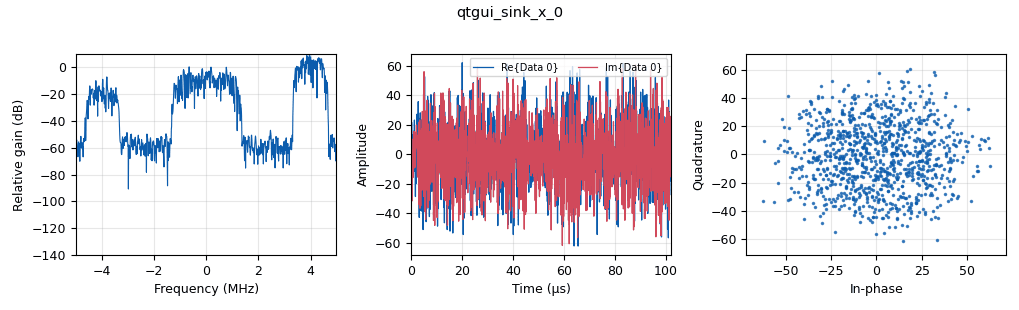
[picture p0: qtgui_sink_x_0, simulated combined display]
<?xml version='1.0' encoding='utf-8'?>
<?grc format='1' created='3.7.12'?>
<flow_graph>
<block>
<key>options</key>
<param><key>id</key><value>top_block</value></param>
<param><key>generate_options</key><value>qt_gui</value></param>
<param><key>run_options</key><value>run</value></param>
</block>
<block>
<key>variable</key>
<param><key>id</key><value>bps</value></param>
<param><key>value</key><value>4</value></param>
</block>
<block>
<key>variable</key>
<param><key>id</key><value>samp_rate</value></param>
<param><key>value</key><value>int(0.5E6)</value></param>
</block>
<block>
<key>variable</key>
<param><key>id</key><value>sps</value></param>
<param><key>value</key><value>10</value></param>
</block>
<block>
<key>variable</key>
<param><key>id</key><value>upsamp_rate</value></param>
<param><key>value</key><value>samp_rate * 8 * sps / bps</value></param>
</block>
<block>
<key>variable_constellation</key>
<param><key>id</key><value>variable_constellation_1</value></param>
<param><key>type</key><value>16qam</value></param>
<param><key>precision</key><value>8</value></param>
</block>
<block>
<key>variable_constellation</key>
<param><key>id</key><value>variable_constellation_2</value></param>
<param><key>type</key><value>16qam</value></param>
<param><key>precision</key><value>8</value></param>
</block>
<block>
<key>analog_random_source_x</key>
<param><key>id</key><value>analog_random_source_x_0</value></param>
<param><key>max</key><value>255</value></param>
<param><key>min</key><value>0</value></param>
<param><key>num_samps</key><value>10000000</value></param>
<param><key>type</key><value>byte</value></param>
<param><key>repeat</key><value>True</value></param>
</block>
<block>
<key>analog_random_source_x</key>
<param><key>id</key><value>analog_random_source_x_1</value></param>
<param><key>max</key><value>255</value></param>
<param><key>min</key><value>0</value></param>
<param><key>num_samps</key><value>10000000</value></param>
<param><key>type</key><value>byte</value></param>
<param><key>repeat</key><value>True</value></param>
</block>
<block>
<key>analog_random_source_x</key>
<param><key>id</key><value>analog_random_source_x_2</value></param>
<param><key>max</key><value>256</value></param>
<param><key>min</key><value>0</value></param>
<param><key>num_samps</key><value>10000000</value></param>
<param><key>type</key><value>byte</value></param>
<param><key>repeat</key><value>True</value></param>
</block>
<block>
<key>analog_sig_source_x</key>
<param><key>id</key><value>analog_sig_source_x_0</value></param>
<param><key>amp</key><value>30</value></param>
<param><key>freq</key><value>4e6</value></param>
<param><key>offset</key><value>0</value></param>
<param><key>type</key><value>complex</value></param>
<param><key>samp_rate</key><value>upsamp_rate</value></param>
<param><key>waveform</key><value>analog.GR_COS_WAVE</value></param>
</block>
<block>
<key>analog_sig_source_x</key>
<param><key>id</key><value>analog_sig_source_x_1</value></param>
<param><key>amp</key><value>10</value></param>
<param><key>freq</key><value>0</value></param>
<param><key>offset</key><value>0</value></param>
<param><key>type</key><value>complex</value></param>
<param><key>samp_rate</key><value>upsamp_rate</value></param>
<param><key>waveform</key><value>analog.GR_COS_WAVE</value></param>
</block>
<block>
<key>analog_sig_source_x</key>
<param><key>id</key><value>analog_sig_source_x_2_1</value></param>
<param><key>amp</key><value>1</value></param>
<param><key>freq</key><value>-4e6</value></param>
<param><key>offset</key><value>0</value></param>
<param><key>type</key><value>complex</value></param>
<param><key>samp_rate</key><value>upsamp_rate</value></param>
<param><key>waveform</key><value>analog.GR_COS_WAVE</value></param>
</block>
<block>
<key>blocks_add_xx</key>
<param><key>id</key><value>blocks_add_xx_0</value></param>
<param><key>type</key><value>complex</value></param>
<param><key>num_inputs</key><value>3</value></param>
</block>
<block>
<key>blocks_file_sink</key>
<param><key>id</key><value>blocks_file_sink_0_0</value></param>
<param><key>file</key><value>/home/wsrg/verilog/research-ayush/python/data3.dat</value></param>
<param><key>type</key><value>complex</value></param>
</block>
<block>
<key>blocks_head</key>
<param><key>id</key><value>blocks_head_0_0</value></param>
<param><key>num_items</key><value>100000000</value></param>
<param><key>type</key><value>complex</value></param>
</block>
<block>
<key>blocks_multiply_xx</key>
<param><key>id</key><value>blocks_multiply_xx_0</value></param>
<param><key>type</key><value>complex</value></param>
</block>
<block>
<key>blocks_multiply_xx</key>
<param><key>id</key><value>blocks_multiply_xx_1</value></param>
<param><key>type</key><value>complex</value></param>
</block>
<block>
<key>blocks_multiply_xx</key>
<param><key>id</key><value>blocks_multiply_xx_2_1</value></param>
<param><key>type</key><value>complex</value></param>
</block>
<block>
<key>blocks_skiphead</key>
<param><key>id</key><value>blocks_skiphead_0_0</value></param>
<param><key>num_items</key><value>1024</value></param>
<param><key>type</key><value>complex</value></param>
</block>
<block>
<key>blocks_throttle</key>
<param><key>id</key><value>blocks_throttle_0</value></param>
<param><key>samples_per_second</key><value>samp_rate</value></param>
<param><key>type</key><value>byte</value></param>
</block>
<block>
<key>blocks_throttle</key>
<param><key>id</key><value>blocks_throttle_1</value></param>
<param><key>samples_per_second</key><value>samp_rate*2</value></param>
<param><key>type</key><value>byte</value></param>
</block>
<block>
<key>blocks_throttle</key>
<param><key>id</key><value>blocks_throttle_2</value></param>
<param><key>samples_per_second</key><value>samp_rate</value></param>
<param><key>type</key><value>byte</value></param>
</block>
<block>
<key>channels_channel_model</key>
<param><key>id</key><value>channels_channel_model_0</value></param>
<param><key>epsilon</key><value>1.0</value></param>
<param><key>freq_offset</key><value>0.0</value></param>
<param><key>noise_voltage</key><value>0.1</value></param>
<param><key>seed</key><value>0</value></param>
<param><key>taps</key><value>1+1j</value></param>
</block>
<block>
<key>channels_fading_model</key>
<param><key>id</key><value>channels_fading_model_0</value></param>
<param><key>LOS</key><value>False</value></param>
<param><key>fDTs</key><value>0</value></param>
<param><key>N</key><value>4</value></param>
<param><key>seed</key><value>0</value></param>
</block>
<block>
<key>channels_fading_model</key>
<param><key>id</key><value>channels_fading_model_1</value></param>
<param><key>LOS</key><value>False</value></param>
<param><key>fDTs</key><value>0</value></param>
<param><key>N</key><value>8</value></param>
<param><key>seed</key><value>0</value></param>
</block>
<block>
<key>channels_fading_model</key>
<param><key>id</key><value>channels_fading_model_2</value></param>
<param><key>LOS</key><value>False</value></param>
<param><key>fDTs</key><value>0</value></param>
<param><key>N</key><value>12</value></param>
<param><key>seed</key><value>0</value></param>
</block>
<block>
<key>digital_constellation_modulator</key>
<param><key>id</key><value>digital_constellation_modulator_0</value></param>
<param><key>constellation</key><value>variable_constellation_2</value></param>
<param><key>differential</key><value>False</value></param>
<param><key>excess_bw</key><value>0.35</value></param>
<param><key>samples_per_symbol</key><value>sps</value></param>
</block>
<block>
<key>digital_constellation_modulator</key>
<param><key>id</key><value>digital_constellation_modulator_1</value></param>
<param><key>constellation</key><value>variable_constellation_1</value></param>
<param><key>differential</key><value>True</value></param>
<param><key>excess_bw</key><value>0.35</value></param>
<param><key>samples_per_symbol</key><value>sps/2</value></param>
</block>
<block>
<key>digital_constellation_modulator</key>
<param><key>id</key><value>digital_constellation_modulator_2</value></param>
<param><key>constellation</key><value>variable_constellation_2</value></param>
<param><key>differential</key><value>True</value></param>
<param><key>excess_bw</key><value>0.35</value></param>
<param><key>samples_per_symbol</key><value>sps</value></param>
</block>
<block>
<key>qtgui_sink_x</key>
<param><key>id</key><value>qtgui_sink_x_0</value></param>
<param><key>bw</key><value>upsamp_rate</value></param>
<param><key>fc</key><value>0</value></param>
<param><key>freqchangevar</key><value>None</value></param>
<param><key>fftsize</key><value>1024</value></param>
<param><key>showports</key><value>True</value></param>
<param><key>type</key><value>complex</value></param>
<param><key>wintype</key><value>firdes.WIN_BLACKMAN_hARRIS</value></param>
</block>
<connection><source_block_id>analog_random_source_x_0</source_block_id><sink_block_id>blocks_throttle_0</sink_block_id><source_key>0</source_key><sink_key>0</sink_key></connection>
<connection><source_block_id>analog_random_source_x_1</source_block_id><sink_block_id>blocks_throttle_1</sink_block_id><source_key>0</source_key><sink_key>0</sink_key></connection>
<connection><source_block_id>analog_random_source_x_2</source_block_id><sink_block_id>blocks_throttle_2</sink_block_id><source_key>0</source_key><sink_key>0</sink_key></connection>
<connection><source_block_id>analog_sig_source_x_0</source_block_id><sink_block_id>blocks_multiply_xx_0</sink_block_id><source_key>0</source_key><sink_key>0</sink_key></connection>
<connection><source_block_id>analog_sig_source_x_1</source_block_id><sink_block_id>blocks_multiply_xx_1</sink_block_id><source_key>0</source_key><sink_key>1</sink_key></connection>
<connection><source_block_id>analog_sig_source_x_2_1</source_block_id><sink_block_id>blocks_multiply_xx_2_1</sink_block_id><source_key>0</source_key><sink_key>1</sink_key></connection>
<connection><source_block_id>blocks_add_xx_0</source_block_id><sink_block_id>channels_channel_model_0</sink_block_id><source_key>0</source_key><sink_key>0</sink_key></connection>
<connection><source_block_id>blocks_head_0_0</source_block_id><sink_block_id>blocks_file_sink_0_0</sink_block_id><source_key>0</source_key><sink_key>0</sink_key></connection>
<connection><source_block_id>blocks_multiply_xx_0</source_block_id><sink_block_id>channels_fading_model_0</sink_block_id><source_key>0</source_key><sink_key>0</sink_key></connection>
<connection><source_block_id>blocks_multiply_xx_1</source_block_id><sink_block_id>channels_fading_model_1</sink_block_id><source_key>0</source_key><sink_key>0</sink_key></connection>
<connection><source_block_id>blocks_multiply_xx_2_1</source_block_id><sink_block_id>channels_fading_model_2</sink_block_id><source_key>0</source_key><sink_key>0</sink_key></connection>
<connection><source_block_id>blocks_skiphead_0_0</source_block_id><sink_block_id>blocks_head_0_0</sink_block_id><source_key>0</source_key><sink_key>0</sink_key></connection>
<connection><source_block_id>blocks_throttle_0</source_block_id><sink_block_id>digital_constellation_modulator_0</sink_block_id><source_key>0</source_key><sink_key>0</sink_key></connection>
<connection><source_block_id>blocks_throttle_1</source_block_id><sink_block_id>digital_constellation_modulator_1</sink_block_id><source_key>0</source_key><sink_key>0</sink_key></connection>
<connection><source_block_id>blocks_throttle_2</source_block_id><sink_block_id>digital_constellation_modulator_2</sink_block_id><source_key>0</source_key><sink_key>0</sink_key></connection>
<connection><source_block_id>channels_channel_model_0</source_block_id><sink_block_id>blocks_skiphead_0_0</sink_block_id><source_key>0</source_key><sink_key>0</sink_key></connection>
<connection><source_block_id>channels_channel_model_0</source_block_id><sink_block_id>qtgui_sink_x_0</sink_block_id><source_key>0</source_key><sink_key>0</sink_key></connection>
<connection><source_block_id>channels_fading_model_0</source_block_id><sink_block_id>blocks_add_xx_0</sink_block_id><source_key>0</source_key><sink_key>0</sink_key></connection>
<connection><source_block_id>channels_fading_model_1</source_block_id><sink_block_id>blocks_add_xx_0</sink_block_id><source_key>0</source_key><sink_key>1</sink_key></connection>
<connection><source_block_id>channels_fading_model_2</source_block_id><sink_block_id>blocks_add_xx_0</sink_block_id><source_key>0</source_key><sink_key>2</sink_key></connection>
<connection><source_block_id>digital_constellation_modulator_0</source_block_id><sink_block_id>blocks_multiply_xx_0</sink_block_id><source_key>0</source_key><sink_key>1</sink_key></connection>
<connection><source_block_id>digital_constellation_modulator_1</source_block_id><sink_block_id>blocks_multiply_xx_1</sink_block_id><source_key>0</source_key><sink_key>0</sink_key></connection>
<connection><source_block_id>digital_constellation_modulator_2</source_block_id><sink_block_id>blocks_multiply_xx_2_1</sink_block_id><source_key>0</source_key><sink_key>0</sink_key></connection>
</flow_graph>
